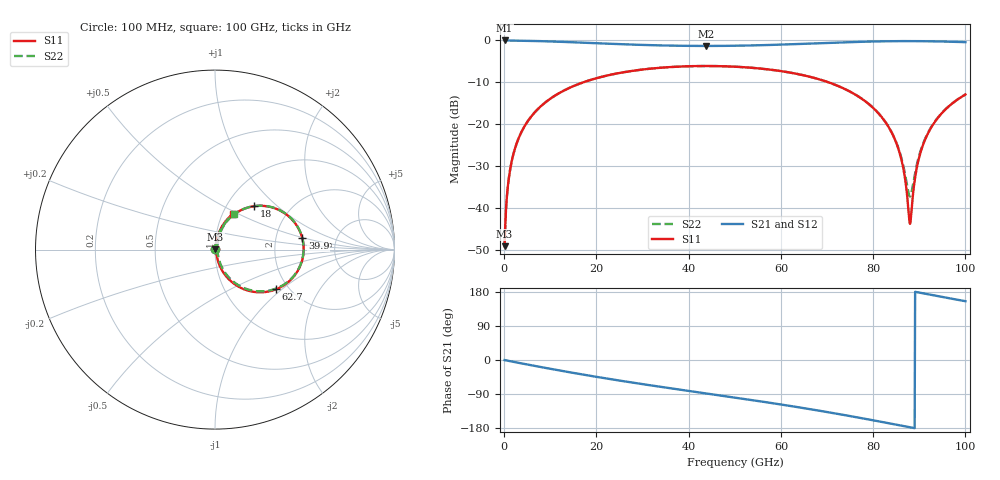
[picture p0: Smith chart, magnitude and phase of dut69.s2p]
! Touchstone file exported from HFSS 2026.1.0
!  File:  C:/ffzhzh/LocalFiles/Ansys_Project_Files/temp_train_RDL_69_1783498622_9504.aedt
!  Generated:  04:18:20 PM Jul  8, 2026
!  Design:  RDL
!  Project:  temp_train_RDL_69_1783498622_9504
! Variables:
!  h_bsmrdl = 2um
!  h_ox = 20um
!  h_rdl = 5um
!  h_sub = 80um
!  h_tmrdl = 4.38um
!  h_tsv = 80um
!  h_via = 3um
!  l_bsmrdl = 300um
!  l_sub = 1083.21um
!  l_tmrdl = 683.21um
!  m_sub = 200um
!  pitch = 48.21um
!  r_tsv = 6um
!  s_tmrdl = 10um
!  w_bsmrdl = 18um
!  w_sub = 500um
!  w_tmrdl = 24.22um
!  x_tsv_center1 = 695.32um
!  x_tsv_center2 = 1013.32um
!  x_tsv_center3 = 1720.75um
!  x_tsv_center4 = 2038.75um
!  x_tsv_center5 = 2746.18um
!  x_tsv_center6 = 3064.18um
# GHz S MA R 50.000000
! Terminal data exported
! Port[1] = TM_RDL1_1_T1
! Port[2] = TM_RDL1_1_T2
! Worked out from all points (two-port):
!   1000 points, 100 MHz to 100 GHz, reference 50 ohm
!   highest |S21| = -0.02 dB at 100 MHz (marker M1); lowest = -1.3 dB at 43.8 GHz (marker M2)
!   |S21| within 3 dB of the highest: start of sweep to end of sweep
!   lowest |S11| = -49.2 dB at 100 MHz (marker M3), VSWR 1.01, Z = 50.2 + j0.244 ohm
!   |S11| at or under -10 dB: start of sweep to 17.21 GHz; 70.27 GHz to end of sweep
!   |S22| runs from -49.2 to -6.1 dB; largest |S21 - S12| = 1.8e-14
!   S11 on the Smith chart (normalised r, x): 100 MHz: 1.00, +0.00; 18 GHz: 1.34, +0.73; 39.9 GHz: 2.84, +0.47; 62.7 GHz: 1.72, -0.91; 100 GHz: 1.12, +0.47
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0.1  0.003481 44.3  0.9975 -0.3  0.9975 -0.3  0.003481 44.3
! Gamma 0 0 0 0
! Port Impedance 50 0 50 0
0.8  0.01798 77.9  0.9967 -1.9  0.9967 -1.9  0.01798 77.9
1.4  0.03081 80.2  0.9961 -3.4  0.9961 -3.4  0.03081 80.2
2.5  0.05428 79.7  0.9944 -6.0  0.9944 -6.0  0.05428 79.7
4  0.08558 77.0  0.9912 -9.5  0.9912 -9.5  0.08557 77.0
9  0.1828 66.4  0.9749 -21.0  0.9749 -21.0  0.1828 66.5
16.8  0.3104 50.1  0.9399 -37.9  0.9399 -37.9  0.3104 50.3
18  0.3271 47.7  0.9341 -40.3  0.9341 -40.3  0.3271 47.9
33.4  0.4685 18.8  0.8717 -69.9  0.8717 -69.9  0.4684 19.1
39.9  0.4906 7.4  0.8596 -81.4  0.8596 -81.4  0.4905 7.8
43.8  0.4941 0.7  0.8576 -88.2  0.8576 -88.2  0.494 1.2
50.1  0.4845 -10.2  0.8627 -99.3  0.8627 -99.3  0.4844 -9.6
62.7  0.4056 -33.1  0.9004 -122.6  0.9004 -122.6  0.4055 -32.2
66.7  0.3625 -40.8  0.9175 -130.5  0.9175 -130.5  0.3624 -39.7
77  0.2102 -61.8  0.9604 -152.4  0.9604 -152.4  0.2103 -59.7
83.4  0.09131 -73.9  0.9767 -166.9  0.9767 -166.9  0.09179 -69.2
86.1  0.03828 -74.4  0.9794 -173.1  0.9794 -173.1  0.03984 -63.8
88  0.006432 3.3  0.9797 -177.5  0.9797 -177.5  0.01366 3.9
89.7  0.03468 77.0  0.9787 178.5  0.9787 178.5  0.03699 66.3
91.6  0.07189 78.2  0.9763 174.1  0.9763 174.1  0.07318 72.8
95.1  0.1388 72.7  0.9686 166.1  0.9686 166.1  0.1396 70.1
100  0.2255 62.9  0.952 155.2  0.952 155.2  0.2261 61.5
